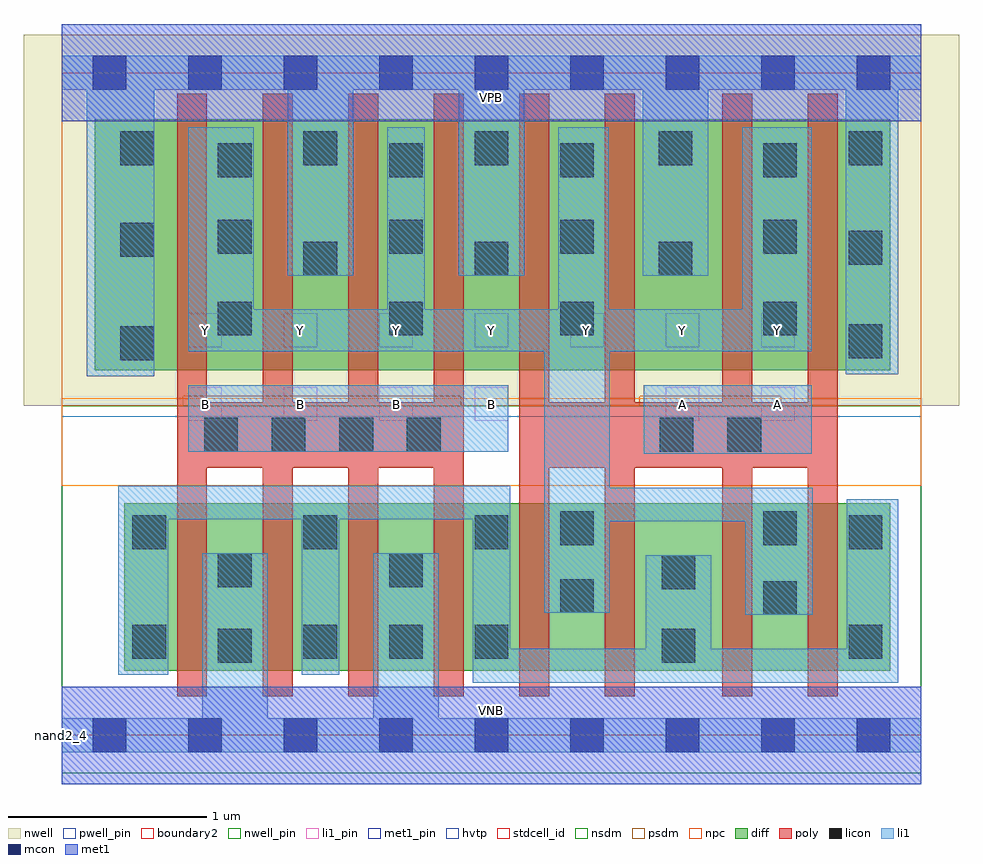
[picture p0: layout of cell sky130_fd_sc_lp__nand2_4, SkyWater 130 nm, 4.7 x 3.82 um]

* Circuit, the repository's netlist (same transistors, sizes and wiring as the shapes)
* Copyright 2020 The SkyWater PDK Authors
*
* Licensed under the Apache License, Version 2.0 (the "License");
* you may not use this file except in compliance with the License.
* You may obtain a copy of the License at
*
*     https://www.apache.org/licenses/LICENSE-2.0
*
* Unless required by applicable law or agreed to in writing, software
* distributed under the License is distributed on an "AS IS" BASIS,
* WITHOUT WARRANTIES OR CONDITIONS OF ANY KIND, either express or implied.
* See the License for the specific language governing permissions and
* limitations under the License.
*
* SPDX-License-Identifier: Apache-2.0

.SUBCKT sky130_fd_sc_lp__nand2_4 A B VGND VNB VPB VPWR Y
*.PININFO A:I B:I VGND:I VNB:I VPB:I VPWR:I Y:O
MMP0 Y A VPWR VPB sky130_fd_pr__pfet_01v8_hvt m=4 w=1.26U l=0.15U mult=1 sa=0.265
+ sb=0.265 sd=0.28 area=0.063 perim=1.14
MMP1 Y B VPWR VPB sky130_fd_pr__pfet_01v8_hvt m=4 w=1.26U l=0.15U mult=1 sa=0.265
+ sb=0.265 sd=0.28 area=0.063 perim=1.14
MMN0 Y A sndA VNB sky130_fd_pr__nfet_01v8 m=4 w=0.84U l=0.15U mult=1 sa=0.265 sb=0.265
+ sd=0.28 area=0.063 perim=1.14
MMN1 sndA B VGND VNB sky130_fd_pr__nfet_01v8 m=4 w=0.84U l=0.15U mult=1 sa=0.265
+ sb=0.265 sd=0.28 area=0.063 perim=1.14
.ENDS sky130_fd_sc_lp__nand2_4

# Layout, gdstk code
import gdstk
lib = gdstk.Library(unit=1e-6, precision=1e-09)
def R(c, l, rs):  # rectangles x0, y0, x1, y1
    for r in rs: c.add(gdstk.rectangle(r[:2], r[2:], *l))
def A(c, l, x, y, w, h, nx, ny, dx, dy):  # array of equal rectangles
    R(c, l, [(x+i*dx, y+j*dy, x+i*dx+w, y+j*dy+h) for i in range(nx) for j in range(ny)])
def P(c, l, *ps):  # polygons
    for p in ps: c.add(gdstk.Polygon(p, *l))
nwell_pin = (64, 16)
nwell = (64, 20)
diff = (65, 20)
poly = (66, 20)
licon = (66, 44)
li1_pin = (67, 16)
li1 = (67, 20)
mcon = (67, 44)
met1_pin = (68, 16)
met1 = (68, 20)
hvtp = (78, 44)
stdcell_id = (81, 4)
nsdm = (93, 44)
psdm = (94, 20)
npc = (95, 20)
pwell_pin = (122, 16)
boundary2 = (236, 0)

sky130_fd_sc_lp__nand2_4 = lib.new_cell('sky130_fd_sc_lp__nand2_4')
R(sky130_fd_sc_lp__nand2_4, nwell_pin, [(0,3.085,4.32,3.33)])
R(sky130_fd_sc_lp__nand2_4, nwell, [(-0.19,1.655,4.51,3.52)])
R(sky130_fd_sc_lp__nand2_4, diff, [(0.315,0.325,4.165,1.165), (0.165,1.835,4.165,3.095)])
P(sky130_fd_sc_lp__nand2_4, poly, [(2.02,3.225),(1.87,3.225),(1.87,1.675),(1.59,1.675),(1.59,3.225),(1.44,3.225),(1.44,1.675),(1.16,1.675),(1.16,3.225),(1.01,3.225),(1.01,1.675),(0.73,1.675),(0.73,3.225),(0.58,3.225),(0.58,0.195),(0.73,0.195),(0.73,1.345),(1.01,1.345),(1.01,0.195),(1.16,0.195),(1.16,1.345),(1.44,1.345),(1.44,0.195),(1.59,0.195),(1.59,1.345),(1.87,1.345),(1.87,0.195),(2.02,0.195)],
  [(3.9,3.225),(3.75,3.225),(3.75,1.675),(3.47,1.675),(3.47,3.225),(3.32,3.225),(3.32,1.675),(2.88,1.675),(2.88,3.225),(2.73,3.225),(2.73,1.675),(2.45,1.675),(2.45,3.225),(2.3,3.225),(2.3,0.195),(2.45,0.195),(2.45,1.345),(2.73,1.345),(2.73,0.195),(2.88,0.195),(2.88,1.345),(3.32,1.345),(3.32,0.195),(3.47,0.195),(3.47,1.345),(3.75,1.345),(3.75,0.195),(3.9,0.195)])
A(sky130_fd_sc_lp__nand2_4, licon, 1.215, 0.385, 0.17, 0.17, 3, 1, 0.43, 0)
A(sky130_fd_sc_lp__nand2_4, licon, 0.355, 0.935, 0.17, 0.17, 3, 1, 0.86, 0)
A(sky130_fd_sc_lp__nand2_4, licon, 0.715, 1.425, 0.17, 0.17, 4, 1, 0.34, 0)
A(sky130_fd_sc_lp__nand2_4, licon, 0.785, 2.01, 0.17, 0.17, 3, 2, 0.86, 0.41)
A(sky130_fd_sc_lp__nand2_4, licon, 0.785, 2.805, 0.17, 0.17, 3, 1, 0.86, 0)
R(sky130_fd_sc_lp__nand2_4, licon, [(0.785,0.365,0.955,0.535), (3.015,0.365,3.185,0.535), (0.355,0.385,0.525,0.555), (3.955,0.385,4.125,0.555), (3.525,0.605,3.695,0.775), (2.505,0.615,2.675,0.785), (3.015,0.735,3.185,0.905), (0.785,0.745,0.955,0.915), (1.645,0.745,1.815,0.915), (3.955,0.935,4.125,1.105), (2.505,0.955,2.675,1.125), (3.525,0.955,3.695,1.125), (3.005,1.425,3.175,1.595), (3.345,1.425,3.515,1.595), (0.295,1.885,0.465,2.055), (3.955,1.895,4.125,2.065), (3.525,2.01,3.695,2.18), (1.215,2.31,1.385,2.48), (2.075,2.31,2.245,2.48), (3,2.31,3.17,2.48), (3.955,2.365,4.125,2.535), (0.295,2.405,0.465,2.575), (3.525,2.42,3.695,2.59), (3.525,2.805,3.695,2.975), (0.295,2.865,0.465,3.035), (1.215,2.865,1.385,3.035), (2.075,2.865,2.245,3.035), (3,2.865,3.17,3.035), (3.955,2.865,4.125,3.035)])
A(sky130_fd_sc_lp__nand2_4, li1_pin, 0.635, 1.58, 0.17, 0.17, 4, 1, 0.48, 0)
A(sky130_fd_sc_lp__nand2_4, li1_pin, 0.635, 1.95, 0.17, 0.17, 7, 1, 0.48, 0)
R(sky130_fd_sc_lp__nand2_4, li1_pin, [(3.035,1.58,3.205,1.75), (3.515,1.58,3.685,1.75)])
R(sky130_fd_sc_lp__nand2_4, li1, [(2.925,1.415,3.77,1.76), (0.635,1.425,2.245,1.76)])
P(sky130_fd_sc_lp__nand2_4, li1, [(3.775,1.245),(2.755,1.245),(2.755,1.93),(3.77,1.93),(3.77,3.055),(3.42,3.055),(3.42,2.14),(2.75,2.14),(2.75,3.055),(2.495,3.055),(2.495,2.14),(1.825,2.14),(1.825,3.055),(1.635,3.055),(1.635,2.14),(0.965,2.14),(0.965,3.055),(0.635,3.055),(0.635,1.93),(2.425,1.93),(2.425,0.615),(2.755,0.615),(2.755,1.075),(3.435,1.075),(3.435,0.605),(3.775,0.605)],
  [(4.205,1.185),(3.945,1.185),(3.945,0.435),(3.265,0.435),(3.265,0.905),(2.935,0.905),(2.935,0.435),(2.255,0.435),(2.255,1.255),(0.285,1.255),(0.285,0.305),(0.535,0.305),(0.535,1.085),(1.205,1.085),(1.205,0.305),(1.395,0.305),(1.395,1.085),(2.065,1.085),(2.065,0.265),(4.205,0.265)],
  [(4.32,3.415),(0,3.415),(0,3.245),(0.125,3.245),(0.125,1.805),(0.465,1.805),(0.465,3.245),(1.135,3.245),(1.135,2.31),(1.465,2.31),(1.465,3.245),(1.995,3.245),(1.995,2.31),(2.325,2.31),(2.325,3.245),(2.92,3.245),(2.92,2.31),(3.25,2.31),(3.25,3.245),(3.94,3.245),(3.94,1.815),(4.205,1.815),(4.205,3.245),(4.32,3.245)],
  [(4.32,0.085),(1.895,0.085),(1.895,0.915),(1.565,0.915),(1.565,0.085),(1.035,0.085),(1.035,0.915),(0.705,0.915),(0.705,0.085),(0,0.085),(0,-0.085),(4.32,-0.085)])
A(sky130_fd_sc_lp__nand2_4, mcon, 0.155, -0.085, 0.17, 0.17, 9, 2, 0.48, 3.33)
R(sky130_fd_sc_lp__nand2_4, met1_pin, [(0,0,4.32,0.245), (0,3.085,4.32,3.33)])
R(sky130_fd_sc_lp__nand2_4, met1, [(0,-0.245,4.32,0.245), (0,3.085,4.32,3.575)])
R(sky130_fd_sc_lp__nand2_4, hvtp, [(0,1.6,4.32,3.33)])
R(sky130_fd_sc_lp__nand2_4, stdcell_id, [(0,0,4.32,3.33)])
R(sky130_fd_sc_lp__nand2_4, nsdm, [(0,-0.19,4.32,1.655)])
P(sky130_fd_sc_lp__nand2_4, psdm, [(4.32,3.52),(0,3.52),(0,1.655),(0.61,1.655),(0.61,1.705),(2.005,1.705),(2.005,1.655),(2.905,1.655),(2.905,1.705),(3.615,1.705),(3.615,1.655),(4.32,1.655)])
R(sky130_fd_sc_lp__nand2_4, npc, [(0,1.255,4.32,1.695)])
R(sky130_fd_sc_lp__nand2_4, pwell_pin, [(0,0,4.32,0.245)])
R(sky130_fd_sc_lp__nand2_4, boundary2, [(0,0,4.32,3.33)])
sky130_fd_sc_lp__nand2_4.add(gdstk.Label('VNB', (2.16,0.123), layer=64, texttype=59))
sky130_fd_sc_lp__nand2_4.add(gdstk.Label('VPB', (2.16,3.208), layer=64, texttype=5))
sky130_fd_sc_lp__nand2_4.add(gdstk.Label('nand2_4', (0,0), layer=83, texttype=44))
sky130_fd_sc_lp__nand2_4.add(gdstk.Label('VPWR', (2.16,3.208), layer=68, texttype=5))
sky130_fd_sc_lp__nand2_4.add(gdstk.Label('VGND', (2.16,0.123), layer=68, texttype=5))
sky130_fd_sc_lp__nand2_4.add(gdstk.Label('Y', (0.72,2.035), layer=67, texttype=5))
sky130_fd_sc_lp__nand2_4.add(gdstk.Label('Y', (1.2,2.035), layer=67, texttype=5))
sky130_fd_sc_lp__nand2_4.add(gdstk.Label('Y', (1.68,2.035), layer=67, texttype=5))
sky130_fd_sc_lp__nand2_4.add(gdstk.Label('Y', (2.16,2.035), layer=67, texttype=5))
sky130_fd_sc_lp__nand2_4.add(gdstk.Label('Y', (2.64,2.035), layer=67, texttype=5))
sky130_fd_sc_lp__nand2_4.add(gdstk.Label('Y', (3.12,2.035), layer=67, texttype=5))
sky130_fd_sc_lp__nand2_4.add(gdstk.Label('Y', (3.6,2.035), layer=67, texttype=5))
sky130_fd_sc_lp__nand2_4.add(gdstk.Label('A', (3.12,1.665), layer=67, texttype=5))
sky130_fd_sc_lp__nand2_4.add(gdstk.Label('A', (3.6,1.665), layer=67, texttype=5))
sky130_fd_sc_lp__nand2_4.add(gdstk.Label('B', (0.72,1.665), layer=67, texttype=5))
sky130_fd_sc_lp__nand2_4.add(gdstk.Label('B', (1.2,1.665), layer=67, texttype=5))
sky130_fd_sc_lp__nand2_4.add(gdstk.Label('B', (1.68,1.665), layer=67, texttype=5))
sky130_fd_sc_lp__nand2_4.add(gdstk.Label('B', (2.16,1.665), layer=67, texttype=5))

lib.write_gds('sky130_fd_sc_lp__nand2_4.gds')
